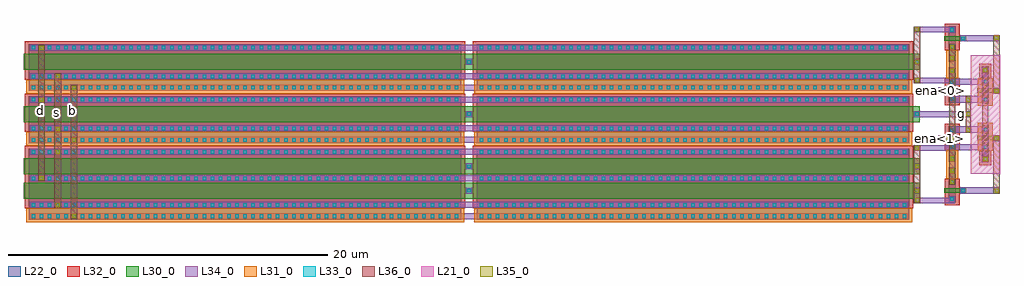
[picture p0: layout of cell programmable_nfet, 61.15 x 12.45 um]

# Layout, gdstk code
from math import pi, radians
import gdstk
lib = gdstk.Library(unit=1e-6, precision=5e-09)
def R(c, l, rs):  # rectangles x0, y0, x1, y1
    for r in rs: c.add(gdstk.rectangle(r[:2], r[2:], *l))
def A(c, l, x, y, w, h, nx, ny, dx, dy):  # array of equal rectangles
    R(c, l, [(x+i*dx, y+j*dy, x+i*dx+w, y+j*dy+h) for i in range(nx) for j in range(ny)])
def P(c, l, *ps):  # polygons
    for p in ps: c.add(gdstk.Polygon(p, *l))
L21_0 = (21, 0)
L22_0 = (22, 0)
L30_0 = (30, 0)
L31_0 = (31, 0)
L32_0 = (32, 0)
L33_0 = (33, 0)
L34_0 = (34, 0)
L35_0 = (35, 0)
L36_0 = (36, 0)

nfet_2 = lib.new_cell('nfet$2')
R(nfet_2, L22_0, [(-0.42,0,0,27.1), (0,0,1.38,27.1), (1.38,0,1.8,27.1), (1.8,0,2.51,27.1)])
R(nfet_2, L30_0, [(0.19,-0.3,1.19,27.4), (0.19,27.4,1.19,27.76)])
R(nfet_2, L31_0, [(1.8,-0.17,2.68,27.27)])
R(nfet_2, L32_0, [(-0.59,-0.24,1.8,27.34)])
A(nfet_2, L33_0, -0.32, 0.18, 0.22, 0.22, 1, 53, 0, 0.51)
A(nfet_2, L33_0, 1.48, 0.18, 0.22, 0.22, 1, 53, 0, 0.51)
A(nfet_2, L33_0, 2.19, 0.18, 0.22, 0.22, 1, 53, 0, 0.51)
R(nfet_2, L33_0, [(0.58,27.47,0.8,27.69)])
R(nfet_2, L34_0, [(-0.4,0.1,-0.02,27), (1.4,0.1,1.78,27), (2.11,0.1,2.49,27), (0.5,27.39,0.88,27.77)])

nfet_3 = lib.new_cell('nfet$3')
R(nfet_3, L22_0, [(-0.42,0,0,27.1), (0,0,2.9,27.1), (2.9,0,3.32,27.1), (3.32,0,4.03,27.1)])
R(nfet_3, L30_0, [(0.19,-0.3,1.19,27.4), (1.71,-0.3,2.71,27.4), (0.19,27.4,1.19,27.76), (1.71,27.4,2.71,27.76)])
R(nfet_3, L31_0, [(3.32,-0.17,4.2,27.27)])
R(nfet_3, L32_0, [(-0.59,-0.24,3.32,27.34)])
A(nfet_3, L33_0, -0.32, 0.18, 0.22, 0.22, 3, 53, 1.66, 0.51)
A(nfet_3, L33_0, 3.71, 0.18, 0.22, 0.22, 1, 53, 0, 0.51)
R(nfet_3, L33_0, [(0.58,27.47,0.8,27.69), (2.1,27.47,2.32,27.69)])
A(nfet_3, L34_0, -0.4, 0.1, 0.38, 26.9, 3, 1, 1.66, 0)
R(nfet_3, L34_0, [(3.63,0.1,4.01,27), (0.5,27.39,0.88,27.77), (2.02,27.39,2.4,27.77)])

nfet = lib.new_cell('nfet')
R(nfet, L22_0, [(-0.42,-0.01,0,0.43), (0.66,-0.01,1.08,0.43), (1.08,-0.01,1.79,0.43), (0,0,0.66,0.42)])
R(nfet, L30_0, [(0.19,-0.3,0.47,0.72), (0.15,0.72,0.51,1.08)])
R(nfet, L31_0, [(1.08,-0.17,1.96,0.59)])
R(nfet, L32_0, [(-0.59,-0.25,1.08,0.67)])
R(nfet, L33_0, [(-0.32,0.1,-0.1,0.32), (0.76,0.1,0.98,0.32), (1.47,0.1,1.69,0.32), (0.22,0.79,0.44,1.01)])
R(nfet, L34_0, [(-0.4,0.02,-0.02,0.4), (0.68,0.02,1.06,0.4), (1.39,0.02,1.77,0.4), (0.14,0.71,0.52,1.09)])

pfet = lib.new_cell('pfet')

pfet_1 = lib.new_cell('pfet$1')
R(pfet_1, L21_0, [(-1.16,-0.71,2.55,1.13)])
R(pfet_1, L22_0, [(-0.46,-0.01,0,0.43), (0.66,-0.01,1.12,0.43), (1.12,-0.01,1.85,0.43), (0,0,0.66,0.42)])
R(pfet_1, L30_0, [(0.19,-0.3,0.47,0.72), (0.14,0.72,0.52,1.1)])
R(pfet_1, L31_0, [(-0.63,-0.25,1.12,0.67)])
R(pfet_1, L32_0, [(1.12,-0.17,2.02,0.59)])
R(pfet_1, L33_0, [(-0.34,0.1,-0.12,0.32), (0.78,0.1,1,0.32), (1.51,0.1,1.73,0.32), (0.22,0.8,0.44,1.02)])
R(pfet_1, L34_0, [(-0.42,0.02,-0.04,0.4), (0.7,0.02,1.08,0.4), (1.43,0.02,1.81,0.4), (0.14,0.72,0.52,1.1)])

transmission_gate = lib.new_cell('transmission_gate')
R(transmission_gate, L34_0, [(-1.54,-0.6,0.915,-0.225), (-1.54,0.48,0.915,0.895)])
transmission_gate.add(gdstk.Reference(nfet, (0.515,0.46), rotation=3*pi/2))
transmission_gate.add(gdstk.Reference(pfet, (-1.075,0.09), rotation=3*pi/2))
transmission_gate.add(gdstk.Reference(pfet, (-0.98,0.115), rotation=3*pi/2))
transmission_gate.add(gdstk.Reference(pfet, (-0.925,-0.105), rotation=3*pi/2))
transmission_gate.add(gdstk.Reference(pfet, (-1.045,0.115), rotation=3*pi/2))
transmission_gate.add(gdstk.Reference(pfet, (-3.895,0.255), rotation=3*pi/2))
transmission_gate.add(gdstk.Reference(pfet, (-4.225,0.69), rotation=3*pi/2))
transmission_gate.add(gdstk.Reference(pfet, (-3.75,0.445), rotation=3*pi/2))
transmission_gate.add(gdstk.Reference(pfet, (-4.065,-0.635), rotation=3*pi/2))
transmission_gate.add(gdstk.Reference(pfet, (-4.08,-0.7), rotation=3*pi/2))
transmission_gate.add(gdstk.Reference(pfet, (-4.065,-0.57), rotation=3*pi/2))
transmission_gate.add(gdstk.Reference(pfet, (-1.45,0.065), rotation=3*pi/2))
transmission_gate.add(gdstk.Reference(pfet, (-1.48,0.125), rotation=3*pi/2))
transmission_gate.add(gdstk.Reference(pfet, (-1.645,0.065), rotation=3*pi/2))
transmission_gate.add(gdstk.Reference(pfet, (-0.11,-0.01), rotation=3*pi/2))
transmission_gate.add(gdstk.Reference(pfet, (-0.335,0.205), rotation=3*pi/2))
transmission_gate.add(gdstk.Reference(pfet, (-1.17,0.295), rotation=3*pi/2))
transmission_gate.add(gdstk.Reference(pfet_1, (-1.14,0.475), rotation=3*pi/2, x_reflection=True))
transmission_gate.add(gdstk.Label('in', (-0.32,0.68), layer=34, texttype=10))
transmission_gate.add(gdstk.Label('out', (-0.345,-0.395), layer=34, texttype=10))
transmission_gate.add(gdstk.Label('VDD', (-1.36,-1.17), layer=34, texttype=10))
transmission_gate.add(gdstk.Label('VSS', (0.72,-1.135), layer=34, texttype=10))
transmission_gate.add(gdstk.Label('ena_bar', (-2.055,0.15), layer=34, texttype=10))
transmission_gate.add(gdstk.Label('ena', (1.385,0.1), layer=34, texttype=10))

nfet_4 = lib.new_cell('nfet$4')
R(nfet_4, L22_0, [(-0.42,-0.01,0,0.43), (0.66,-0.01,1.08,0.43), (1.08,-0.01,1.79,0.43), (0,0,0.66,0.42)])
R(nfet_4, L30_0, [(0.19,-0.3,0.47,0.72), (0.15,0.72,0.51,1.08)])
R(nfet_4, L31_0, [(1.08,-0.17,1.96,0.59)])
R(nfet_4, L32_0, [(-0.59,-0.25,1.08,0.67)])
R(nfet_4, L33_0, [(-0.32,0.1,-0.1,0.32), (0.76,0.1,0.98,0.32), (1.47,0.1,1.69,0.32), (0.22,0.79,0.44,1.01)])
R(nfet_4, L34_0, [(-0.4,0.02,-0.02,0.4), (0.68,0.02,1.06,0.4), (1.39,0.02,1.77,0.4), (0.14,0.71,0.52,1.09)])

programmable_nfet = lib.new_cell('programmable_nfet')
R(programmable_nfet, L30_0, [(-2.4,-5.81,-2.03,-4.81), (-2.405,-4.29,-2.03,-3.29), (-2.4,-1.02,-2.03,-0.02), (-2.4,2.25,-2.03,3.25)])
A(programmable_nfet, L34_0, -2.8, -6.4, 1.17, 0.38, 1, 3, 0, 1.66)
R(programmable_nfet, L34_0, [(-2.8,-7.11,-1.63,-6.73), (25.665,-6.115,28.24,-5.76), (28.555,-5.495,31.02,-5.115), (25.655,-2.83,27.865,-2.485), (-2.8,-2.32,-1.63,-1.94), (-2.8,-1.61,-1.63,-1.23), (25.67,-0.715,29.21,-0.335), (-2.8,0.19,-1.63,0.57), (-2.8,0.95,-1.63,1.33), (25.67,1.415,27.865,1.765), (-2.8,1.66,-1.63,2.04), (-2.8,3.46,-1.63,3.84), (28.555,4.035,31.02,4.415), (25.66,4.605,28.245,4.955)])
R(programmable_nfet, L35_0, [(-27.09,-7.055,-26.83,-6.795), (-28.11,-6.345,-27.85,-6.085), (25.725,-6.055,25.985,-5.795), (25.72,-5.45,25.98,-5.19), (30.71,-5.445,30.97,-5.185), (27.925,-4.885,28.185,-4.625), (-29.135,-4.68,-28.875,-4.42), (27.93,-4.195,28.19,-3.935), (25.725,-3.925,25.985,-3.665), (30.015,-3.46,30.275,-3.2), (27.93,-3.43,28.19,-3.17), (-28.11,-3.025,-27.85,-2.765), (25.715,-2.795,25.975,-2.535), (-27.085,-2.27,-26.825,-2.01), (30.7,-2.165,30.96,-1.905), (28.93,-1.635,29.19,-1.375), (-28.11,-1.56,-27.85,-1.3), (28.94,-0.655,29.2,-0.395), (28.935,0.25,29.195,0.51), (-29.13,0.255,-28.87,0.515), (30.7,0.815,30.96,1.075), (-27.09,1.01,-26.83,1.27), (25.735,1.46,25.995,1.72), (-28.105,1.72,-27.845,1.98), (27.93,2.075,28.19,2.335), (30,2.105,30.26,2.365), (25.72,2.615,25.98,2.875), (27.93,2.84,28.19,3.1), (-29.13,3.515,-28.87,3.775), (27.93,3.545,28.19,3.805), (30.7,4.13,30.96,4.39), (25.72,4.66,25.98,4.92)])
P(programmable_nfet, L35_0, [(-26.825,-7.05),(-26.825,-7.05),(-26.825,-7.05),(-26.825,-7.05)],
  [(-26.825,-7.05),(-26.825,-7.05),(-26.825,-7.05),(-26.825,-7.05)])
R(programmable_nfet, L36_0, [(-27.17,-7.11,-26.75,1.33), (-28.215,-6.4,-27.78,2.04), (25.66,-6.09,26.045,-2.485), (30.64,-5.495,31.02,-1.84), (27.865,-4.955,28.245,3.875), (-29.205,-4.74,-28.785,3.84), (29.94,-3.51,30.32,2.43), (28.91,-1.695,29.21,0.615), (30.64,0.76,31.02,4.415), (25.66,1.4,26.04,4.955)])
programmable_nfet.add(gdstk.Reference(nfet_2, (-1.73,3.44), rotation=3*pi/2))
programmable_nfet.add(gdstk.Reference(nfet_2, (-1.73,0.17), rotation=3*pi/2))
programmable_nfet.add(gdstk.Reference(nfet_2, (-29.8,3.44), rotation=3*pi/2))
programmable_nfet.add(gdstk.Reference(nfet_2, (-29.8,0.17), rotation=3*pi/2))
programmable_nfet.add(gdstk.Reference(nfet_3, (-1.73,-3.1), rotation=3*pi/2))
programmable_nfet.add(gdstk.Reference(nfet_3, (-29.8,-3.1), rotation=3*pi/2))
programmable_nfet.add(gdstk.Reference(transmission_gate, (28.78,1.095), rotation=pi))
programmable_nfet.add(gdstk.Reference(transmission_gate, (28.78,-2.175), rotation=pi, x_reflection=True))
programmable_nfet.add(gdstk.Reference(nfet_4, (27.845,-5.635), rotation=pi/2, x_reflection=True))
programmable_nfet.add(gdstk.Reference(nfet_4, (27.845,4.555), rotation=3*pi/2))
programmable_nfet.add(gdstk.Label('ena<0>', (27.295,0.975), layer=34, texttype=10))
programmable_nfet.add(gdstk.Label('ena<1>', (27.28,-2.075), layer=34, texttype=10))
programmable_nfet.add(gdstk.Label('g', (28.645,-0.5), layer=34, texttype=10))
programmable_nfet.add(gdstk.Label('ena_bar<0>', (30.755,0.96), layer=36, texttype=10))
programmable_nfet.add(gdstk.Label('ena_bar<1>', (30.78,-2.015), layer=36, texttype=10))
programmable_nfet.add(gdstk.Label('vss', (28.02,-0.925), layer=36, texttype=10))
programmable_nfet.add(gdstk.Label('d', (-29.055,-0.3), layer=36, texttype=10))
programmable_nfet.add(gdstk.Label('s', (-28.09,-0.39), layer=36, texttype=10))
programmable_nfet.add(gdstk.Label('b', (-27.03,-0.27), layer=36, texttype=10))

lib.write_gds('programmable_nfet.gds')
